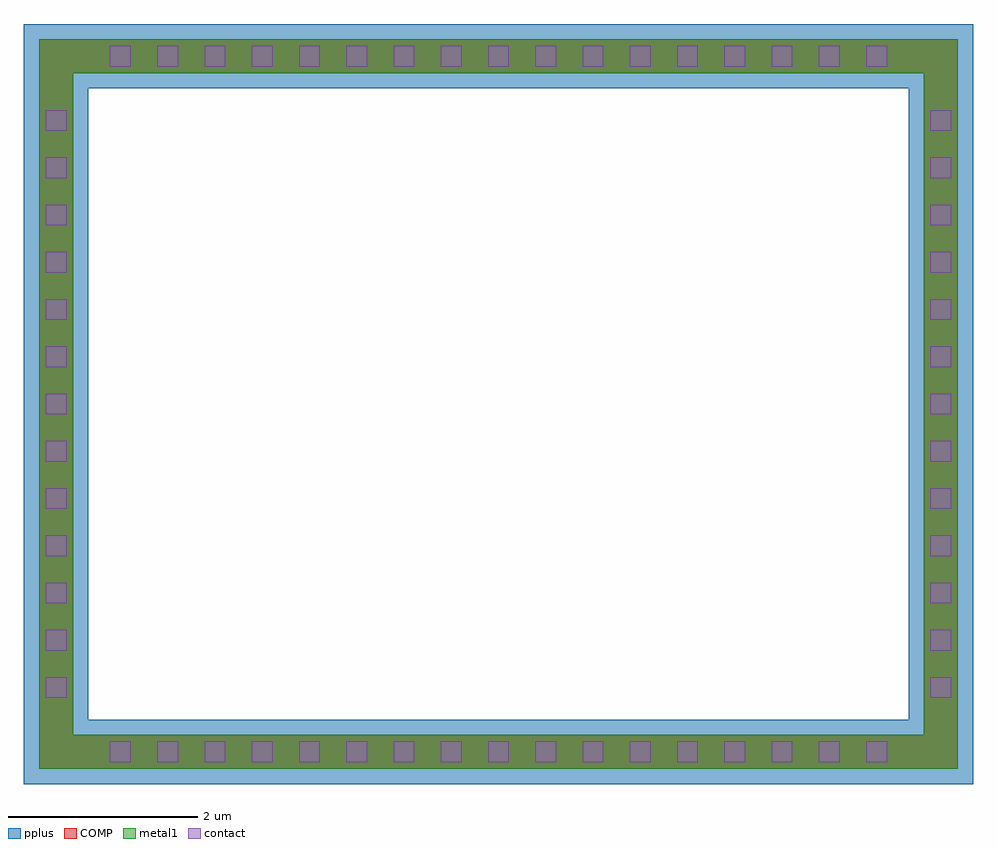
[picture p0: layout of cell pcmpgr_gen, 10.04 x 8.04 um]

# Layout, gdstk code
import gdstk
lib = gdstk.Library(unit=1e-6, precision=1e-09)
def R(c, l, rs):  # rectangles x0, y0, x1, y1
    for r in rs: c.add(gdstk.rectangle(r[:2], r[2:], *l))
def P(c, l, *ps):  # polygons
    for p in ps: c.add(gdstk.Polygon(p, *l))
COMP = (22, 0)
pplus = (31, 0)
contact = (33, 0)
metal1 = (34, 0)

boolean_44e5cbf4 = lib.new_cell('boolean_44e5cbf4')
P(boolean_44e5cbf4, COMP, [(6.86,4.86),(-2.86,4.86),(-2.86,-2.5),(-2.5,-2.5),(-2.5,4.5),(6.5,4.5),(6.5,-2.5),(-2.5,-2.5),(-2.86,-2.5),(-2.86,-2.86),(6.86,-2.86)])

boolean_3e9771c2 = lib.new_cell('boolean_3e9771c2')
P(boolean_3e9771c2, pplus, [(7.02,5.02),(-3.02,5.02),(-3.02,-2.34),(-2.34,-2.34),(-2.34,4.34),(6.34,4.34),(6.34,-2.34),(-2.34,-2.34),(-3.02,-2.34),(-3.02,-3.02),(7.02,-3.02)])

compass_f38dc993 = lib.new_cell('compass_f38dc993')
R(compass_f38dc993, contact, [(-0.11,-0.11,0.11,0.11)])

rectangle_f38dc993 = lib.new_cell('rectangle_f38dc993')
rectangle_f38dc993.add(gdstk.Reference(compass_f38dc993, (0.11,0.11)))

via_generator_d072aa01 = lib.new_cell('via_generator_d072aa01')
r = gdstk.Reference(rectangle_f38dc993, (-2.11,-2.79)); r.repetition = gdstk.Repetition(17, 1, v1=(0.5,0), v2=(0,0.5)); via_generator_d072aa01.add(r)

via_generator_72c2ad08 = lib.new_cell('via_generator_72c2ad08')
r = gdstk.Reference(rectangle_f38dc993, (-2.11,4.57)); r.repetition = gdstk.Repetition(17, 1, v1=(0.5,0), v2=(0,0.5)); via_generator_72c2ad08.add(r)

via_generator_030971e4 = lib.new_cell('via_generator_030971e4')
r = gdstk.Reference(rectangle_f38dc993, (-2.79,-2.11)); r.repetition = gdstk.Repetition(1, 13, v1=(0.5,0), v2=(0,0.5)); via_generator_030971e4.add(r)

via_generator_a9a93459 = lib.new_cell('via_generator_a9a93459')
r = gdstk.Reference(rectangle_f38dc993, (6.57,-2.11)); r.repetition = gdstk.Repetition(1, 13, v1=(0.5,0), v2=(0,0.5)); via_generator_a9a93459.add(r)

boolean_9530c772 = lib.new_cell('boolean_9530c772')
P(boolean_9530c772, metal1, [(6.86,4.86),(-2.86,4.86),(-2.86,-2.5),(-2.5,-2.5),(-2.5,4.5),(6.5,4.5),(6.5,-2.5),(-2.5,-2.5),(-2.86,-2.5),(-2.86,-2.86),(6.86,-2.86)])

pcmpgr_gen = lib.new_cell('pcmpgr_gen')
pcmpgr_gen.add(gdstk.Reference(boolean_44e5cbf4, (0,0)))
pcmpgr_gen.add(gdstk.Reference(boolean_3e9771c2, (0,0)))
pcmpgr_gen.add(gdstk.Reference(via_generator_d072aa01, (0,0)))
pcmpgr_gen.add(gdstk.Reference(via_generator_72c2ad08, (0,0)))
pcmpgr_gen.add(gdstk.Reference(via_generator_030971e4, (0,0)))
pcmpgr_gen.add(gdstk.Reference(via_generator_a9a93459, (0,0)))
pcmpgr_gen.add(gdstk.Reference(boolean_9530c772, (0,0)))

lib.write_gds('pcmpgr_gen.gds')
